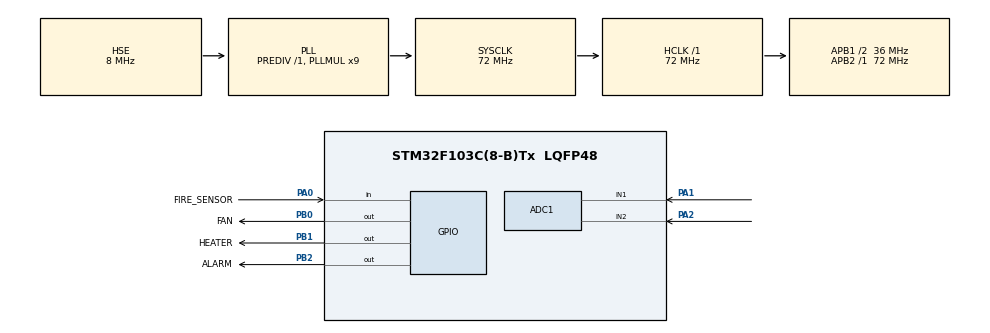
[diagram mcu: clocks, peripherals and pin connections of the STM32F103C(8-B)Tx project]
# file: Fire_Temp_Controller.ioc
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ADC1.Channel-0\#ChannelRegularConversion=ADC_CHANNEL_1
ADC1.Channel-1\#ChannelRegularConversion=ADC_CHANNEL_1
ADC1.ContinuousConvMode=ENABLE
ADC1.NbrOfConversion=2
ADC1.NbrOfConversionFlag=1
ADC1.Rank-0\#ChannelRegularConversion=1
ADC1.Rank-1\#ChannelRegularConversion=2
ADC1.SamplingTime-0\#ChannelRegularConversion=ADC_SAMPLETIME_55CYCLES_5
ADC1.SamplingTime-1\#ChannelRegularConversion=ADC_SAMPLETIME_55CYCLES_5
ADC1.master=1
Mcu.Family=STM32F1
Mcu.Name=STM32F103C(8-B)Tx
Mcu.Package=LQFP48
NVIC.PriorityGroup=NVIC_PRIORITYGROUP_4
PA0-WKUP.GPIO_Label=FIRE_SENSOR
PA0-WKUP.Signal=GPIO_Input
PA1.Signal=ADCx_IN1
PA13.Mode=Serial_Wire
PA13.Signal=SYS_JTMS-SWDIO
PA14.Mode=Serial_Wire
PA14.Signal=SYS_JTCK-SWCLK
PA2.Signal=ADCx_IN2
PB0.GPIO_Label=FAN
PB0.Signal=GPIO_Output
PB1.GPIO_Label=HEATER
PB1.Signal=GPIO_Output
PB2.GPIO_Label=ALARM
PB2.Signal=GPIO_Output
PD0-OSC_IN.Mode=HSE-External-Oscillator
PD0-OSC_IN.Signal=RCC_OSC_IN
PD1-OSC_OUT.Mode=HSE-External-Oscillator
PD1-OSC_OUT.Signal=RCC_OSC_OUT
ProjectManager.HeapSize=0x200
ProjectManager.StackSize=0x400
ProjectManager.TargetToolchain=STM32CubeIDE
RCC.ADCPresc=RCC_ADCPCLK2_DIV6
RCC.AHBFreq_Value=72000000
RCC.APB1CLKDivider=RCC_HCLK_DIV2
RCC.APB1Freq_Value=36000000
RCC.APB1TimFreq_Value=72000000
RCC.APB2Freq_Value=72000000
RCC.APB2TimFreq_Value=72000000
RCC.HCLKFreq_Value=72000000
RCC.PLLMUL=RCC_PLL_MUL9
RCC.PLLSourceVirtual=RCC_PLLSOURCE_HSE
RCC.SYSCLKFreq_VALUE=72000000
RCC.SYSCLKSource=RCC_SYSCLKSOURCE_PLLCLK
RCC.USBFreq_Value=72000000
SH.ADCx_IN1.0=ADC1_IN1,IN1
SH.ADCx_IN2.0=ADC1_IN2,IN2
board=custom

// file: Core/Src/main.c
/* USER CODE BEGIN Header */
/**
  ******************************************************************************
  * @file           : main.c
  * @brief          : Main program body
  ******************************************************************************
  * @attention
  *
  * Copyright (c) 2026 STMicroelectronics.
  * All rights reserved.
  *
  * This software is licensed under terms that can be found in the LICENSE file
  * in the root directory of this software component.
  * If no LICENSE file comes with this software, it is provided AS-IS.
  *
  ******************************************************************************
  */
/* USER CODE END Header */
#include "main.h"

ADC_HandleTypeDef hadc1;

/* USER CODE BEGIN PV */
/* USER CODE BEGIN PV */
uint32_t adc_val[2]; // Array to store raw ADC values
float temp1 = 0;     // Temperature from LM35 Sensor 1
float temp2 = 0;     // Temperature from LM35 Sensor 2

// Threshold constants
const float TEMP_HIGH = 35.0; // Turn on Fan if temp > 35°C
const float TEMP_LOW  = 18.0; // Turn on Heater if temp < 18°C
/* USER CODE END PV */
/* USER CODE END PV */

void SystemClock_Config(void);
static void MX_GPIO_Init(void);
static void MX_ADC1_Init(void);

int main(void)
{

  /* MCU Configuration--------------------------------------------------------*/

  /* Reset of all peripherals, Initializes the Flash interface and the Systick. */
  HAL_Init();

  /* Configure the system clock */
  SystemClock_Config();

  /* Initialize all configured peripherals */
  MX_GPIO_Init();
  MX_ADC1_Init();

  /* Infinite loop */
  /* USER CODE BEGIN WHILE */
  while (1)
  {
	  Read_Temperature();
	      GPIO_PinState fire_detected = HAL_GPIO_ReadPin(GPIOA, FIRE_SENSOR_Pin);

	      // 2. Control Logic

	      // CRITICAL: Fire takes absolute priority
	      if (fire_detected == GPIO_PIN_SET)
	      {
	          HAL_GPIO_WritePin(GPIOB, ALARM_Pin, GPIO_PIN_SET); // Alarm ON
	          HAL_GPIO_WritePin(GPIOB, FAN_Pin, GPIO_PIN_SET);    // Fan ON to clear smoke
	          HAL_GPIO_WritePin(GPIOB, HEATER_Pin, GPIO_PIN_RESET); // Heater OFF (Safety!)
	      }
	      else
	      {
	          HAL_GPIO_WritePin(GPIOB, ALARM_Pin, GPIO_PIN_RESET); // Alarm OFF

	          // Temperature Logic (Checking if EITHER sensor crosses thresholds)
	          if (temp1 > TEMP_HIGH || temp2 > TEMP_HIGH)
	          {
	              HAL_GPIO_WritePin(GPIOB, FAN_Pin, GPIO_PIN_SET);    // Fan ON
	              HAL_GPIO_WritePin(GPIOB, HEATER_Pin, GPIO_PIN_RESET); // Heater OFF
	          }
	          else if (temp1 < TEMP_LOW || temp2 < TEMP_LOW)
	          {
	              HAL_GPIO_WritePin(GPIOB, FAN_Pin, GPIO_PIN_RESET);   // Fan OFF
	              HAL_GPIO_WritePin(GPIOB, HEATER_Pin, GPIO_PIN_SET);   // Heater ON
	          }
	          else
	          {
	              // Temperature is normal (Between 18°C and 35°C)
	              HAL_GPIO_WritePin(GPIOB, FAN_Pin, GPIO_PIN_RESET);
	              HAL_GPIO_WritePin(GPIOB, HEATER_Pin, GPIO_PIN_RESET);
	          }
	      }

	      HAL_Delay(500);
    /* USER CODE END WHILE */

  }
}

void SystemClock_Config(void)
{
  RCC_OscInitTypeDef RCC_OscInitStruct = {0};
  RCC_ClkInitTypeDef RCC_ClkInitStruct = {0};
  RCC_PeriphCLKInitTypeDef PeriphClkInit = {0};

  /** Initializes the RCC Oscillators according to the specified parameters
  * in the RCC_OscInitTypeDef structure.
  */
  RCC_OscInitStruct.OscillatorType = RCC_OSCILLATORTYPE_HSE;
  RCC_OscInitStruct.HSEState = RCC_HSE_ON;
  RCC_OscInitStruct.HSEPredivValue = RCC_HSE_PREDIV_DIV1;
  RCC_OscInitStruct.HSIState = RCC_HSI_ON;
  RCC_OscInitStruct.PLL.PLLState = RCC_PLL_ON;
  RCC_OscInitStruct.PLL.PLLSource = RCC_PLLSOURCE_HSE;
  RCC_OscInitStruct.PLL.PLLMUL = RCC_PLL_MUL9;
  if (HAL_RCC_OscConfig(&RCC_OscInitStruct) != HAL_OK)
  {
    Error_Handler();
  }

  /** Initializes the CPU, AHB and APB buses clocks
  */
  RCC_ClkInitStruct.ClockType = RCC_CLOCKTYPE_HCLK|RCC_CLOCKTYPE_SYSCLK
                              |RCC_CLOCKTYPE_PCLK1|RCC_CLOCKTYPE_PCLK2;
  RCC_ClkInitStruct.SYSCLKSource = RCC_SYSCLKSOURCE_PLLCLK;
  RCC_ClkInitStruct.AHBCLKDivider = RCC_SYSCLK_DIV1;
  RCC_ClkInitStruct.APB1CLKDivider = RCC_HCLK_DIV2;
  RCC_ClkInitStruct.APB2CLKDivider = RCC_HCLK_DIV1;

  if (HAL_RCC_ClockConfig(&RCC_ClkInitStruct, FLASH_LATENCY_2) != HAL_OK)
  {
    Error_Handler();
  }
  PeriphClkInit.PeriphClockSelection = RCC_PERIPHCLK_ADC;
  PeriphClkInit.AdcClockSelection = RCC_ADCPCLK2_DIV6;
  if (HAL_RCCEx_PeriphCLKConfig(&PeriphClkInit) != HAL_OK)
  {
    Error_Handler();
  }
}

static void MX_ADC1_Init(void)
{

  ADC_ChannelConfTypeDef sConfig = {0};

  /** Common config
  */
  hadc1.Instance = ADC1;
  hadc1.Init.ScanConvMode = ADC_SCAN_ENABLE;
  hadc1.Init.ContinuousConvMode = ENABLE;
  hadc1.Init.DiscontinuousConvMode = DISABLE;
  hadc1.Init.ExternalTrigConv = ADC_SOFTWARE_START;
  hadc1.Init.DataAlign = ADC_DATAALIGN_RIGHT;
  hadc1.Init.NbrOfConversion = 2;
  if (HAL_ADC_Init(&hadc1) != HAL_OK)
  {
    Error_Handler();
  }

  /** Configure Regular Channel
  */
  sConfig.Channel = ADC_CHANNEL_1;
  sConfig.Rank = ADC_REGULAR_RANK_1;
  sConfig.SamplingTime = ADC_SAMPLETIME_55CYCLES_5;
  if (HAL_ADC_ConfigChannel(&hadc1, &sConfig) != HAL_OK)
  {
    Error_Handler();
  }

  /** Configure Regular Channel
  */
  sConfig.Rank = ADC_REGULAR_RANK_2;
  if (HAL_ADC_ConfigChannel(&hadc1, &sConfig) != HAL_OK)
  {
    Error_Handler();
  }

}

static void MX_GPIO_Init(void)
{
  GPIO_InitTypeDef GPIO_InitStruct = {0};

  /* GPIO Ports Clock Enable */
  __HAL_RCC_GPIOD_CLK_ENABLE();
  __HAL_RCC_GPIOA_CLK_ENABLE();
  __HAL_RCC_GPIOB_CLK_ENABLE();

  /*Configure GPIO pin Output Level */
  HAL_GPIO_WritePin(GPIOB, FAN_Pin|HEATER_Pin|ALARM_Pin, GPIO_PIN_RESET);

  /*Configure GPIO pin : FIRE_SENSOR_Pin */
  GPIO_InitStruct.Pin = FIRE_SENSOR_Pin;
  GPIO_InitStruct.Mode = GPIO_MODE_INPUT;
  GPIO_InitStruct.Pull = GPIO_NOPULL;
  HAL_GPIO_Init(FIRE_SENSOR_GPIO_Port, &GPIO_InitStruct);

  /*Configure GPIO pins : FAN_Pin HEATER_Pin ALARM_Pin */
  GPIO_InitStruct.Pin = FAN_Pin|HEATER_Pin|ALARM_Pin;
  GPIO_InitStruct.Mode = GPIO_MODE_OUTPUT_PP;
  GPIO_InitStruct.Pull = GPIO_NOPULL;
  GPIO_InitStruct.Speed = GPIO_SPEED_FREQ_LOW;
  HAL_GPIO_Init(GPIOB, &GPIO_InitStruct);

}

/* USER CODE BEGIN 4 */
/* USER CODE BEGIN 4 */
void Read_Temperature(void)
{
    // Read Channel 1 (Sensor 1)
    HAL_ADC_Start(&hadc1);
    if (HAL_ADC_PollForConversion(&hadc1, 100) == HAL_OK)
    {
        adc_val[0] = HAL_ADC_GetValue(&hadc1);
        temp1 = (adc_val[0] * 330.0) / 4096.0;
    }

    // Read Channel 2 (Sensor 2)
    if (HAL_ADC_PollForConversion(&hadc1, 100) == HAL_OK)
    {
        adc_val[1] = HAL_ADC_GetValue(&hadc1);
        temp2 = (adc_val[1] * 330.0) / 4096.0;
    }
    HAL_ADC_Stop(&hadc1);
}
/* USER CODE END 4 */
/* USER CODE END 4 */

void Error_Handler(void)
{
  __disable_irq();
  while (1)
  {
  }
}
